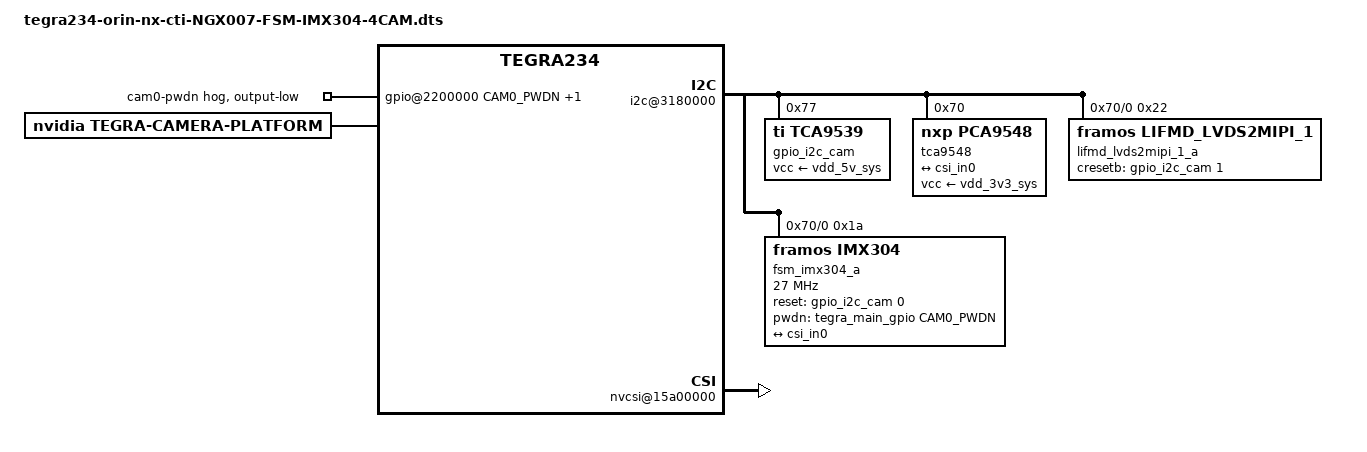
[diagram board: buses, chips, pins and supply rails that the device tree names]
/*
 * tegra234-p3737-camera-imx304-J5-4lane-overlay.dts - IMX304 sensor device tree
 *
 * Copyright (c) 2022. FRAMOS. All right reserved.
 *
 * This program is free software; you can redistribute it and/or modify
 * it under the terms of the GNU General Public License as published by
 * the Free Software Foundation; version 2 of the License.
 *
 * This program is distributed in the hope that it will be useful, but WITHOUT
 * ANY WARRANTY; without even the implied warranty of MERCHANTABILITY or
 * FITNESS FOR A PARTICULAR PURPOSE.  See the GNU General Public License for
 * more details.
 *
 */

#include "tegra234-orin-nx-cti-NGX007.dts"
//#include "tegra234-orin-nx-cti-rpi-imx219-modes-header.dtsi"

#include "dt-bindings/gpio/tegra234-gpio.h"
#include "dt-bindings/clock/tegra234-clock.h"

#define CAM0_PWDN	TEGRA234_MAIN_GPIO(H, 6)
#define CAM1_PWDN	TEGRA234_MAIN_GPIO(AC, 0)

/* PCA9539 Pxx bus-port define*/
#define CAM0_RST_0      0
#define CAM1_RST_0      2
#define CAM2_RST_0      4
#define CAM0_PWDN_1     1 //creset camA
#define CAM1_PWDN_1     3 //creset camB
#define CAM2_PWDN_0     5
#define CAM2_PWDN_1     6
#define CAM3_RST_0      7
#define CAM3_PWDN_0     8
#define CAM3_PWDN_1     9 //creset camC
#define MIPI_SW_SEL     10 // P12

#define CAMERA_I2C_MUX_BUS(x) (0x1E + x)

/ {
		nvidia,dtsfilename = "tegra234-orin-nx-cti-NGX007-FSM-IMX304-4CAM.dts";
		
		
		
		//GPIO controller nodes
		
		i2c@3180000{
			gpio_i2c_cam: gpio@77 {
				status = "okay";
				compatible = "ti,tca9539";
				reg = <0x77>;
				gpio-controller;
				#gpio-cells = <2>;
				#address-cells = <1>;
				#size-cells = <0>;
				vcc-supply = <&vdd_5v_sys>; //battery_reg
				camera-rst{
					gpio-hog;
					output-low;
					gpios = <0 0 2 0 4 0 7 0 10 0>;
					label = "cam0_rst", "cam1_rst", "cam2_rst", "cam3_rst", "mipi_sel";
				};
				camera-pwr{
					gpio-hog;
					output-high;
					gpios = <1 0 3 0 5 0 6 0 8 0 9 0>;
					label = "cam0_pw1", "cam1_pw1", "cam2_pw0", "cam2_pw1", "cam3_pw0", "cam3_pw1";
				};
			};
		};
	
		framos_platform_adapter {
			cam,use-cam-gpio = "true"; 
		};
		
		gpio@2200000 {
			status = "okay";
			camera-control-output-low {
				gpio-hog;
				output-low;
				gpios = <CAM0_PWDN 0 CAM1_PWDN 0>;
				label = "cam0-pwdn", "cam1-pwdn";
				status = "okay";
				};
		};
			
		tegra-capture-vi {
			num-channels = <1>;
			status = "okay";
			ports {
				#address-cells = <1>;
				#size-cells = <0>;
				port@0 {
					status = "okay";
					reg = <0>;
					vi_in0: endpoint {
						//vc-id=<0>
						status = "okay";
						port-index = <0>;
						bus-width = <4>;
						remote-endpoint = <&csi_out0>;
					};
				};

			};
		};

	host1x@13e00000 {
		nvcsi@15a00000 {
			num-channels = <1>;
			#address-cells = <1>;
			#size-cells = <0>;
			status = "okay";
			channel@0 {
				status = "okay";
				reg = <0>;
				ports {
					#address-cells = <1>;
					#size-cells = <0>;
					status = "okay";
					port@0 {
						status = "okay";
						reg = <0>;
						csi_in0: endpoint@0 {
							status = "okay";
							port-index = <0>;
							bus-width = <4>;
							remote-endpoint = <&vi_out0>;
						};
					};
					port@1 {
						status = "okay";
						reg = <1>;
						csi_out0: endpoint@1 {
							remote-endpoint = <&vi_in0>;
						};
					};
				};
			};

		};
	};
	i2c@3180000 {
		tca9548@70 {
			compatible = "nxp,pca9548";
			reg = <0x70>;
			#address-cells = <1>;
			#size-cells = <0>;
			skip_mux_detect;
			vcc-supply = <&vdd_3v3_sys>;
			force_bus_start = <CAMERA_I2C_MUX_BUS(0)>;
			status = "okay";	
			i2c@0 {
					reg = <0>;
					i2c-mux,deselect-on-exit;
					#address-cells = <1>;
					#size-cells = <0>;
					status = "okay";
					// lvds firmware 
					lifmd_lvds2mipi_1_a: lifmd_lvds2mipi_1_a@22 {
						compatible = "framos,lifmd_lvds2mipi_1";
						reg = <0x22>;
						device = "lifmd_lvds2mipi_1";
						cresetb = <&gpio_i2c_cam 1 GPIO_ACTIVE_HIGH>;
					};
					fsm_imx304_a@1a{
								status = "okay";
								reg = <0x1a>;
								compatible = "framos,imx304";
								
								/* Define any required hw resources needed by driver */
								/* ie. clocks, io pins, power sources */
								clocks = <&bpmp_clks TEGRA234_CLK_EXTPERIPH1>,
											<&bpmp_clks TEGRA234_CLK_EXTPERIPH1>;
								clock-names = "extperiph1", "pllp_grtba";
								mclk = "extperiph1";
								clock-frequency = <27000000>;
								lifmd_lvds2mipi_1-device = <&lifmd_lvds2mipi_1_a>;
								
								reset-gpios = <&gpio_i2c_cam 0 GPIO_ACTIVE_HIGH>;
								pwdn-gpios = <&tegra_main_gpio CAM0_PWDN GPIO_ACTIVE_HIGH>;
								
								//vana-supply = <&p3737_avdd_cam_2v8>;
								//vif-supply = <&vdd_1v8_sys>;

								devnode = "video0";

								physical_w = "15.00";
								physical_h = "12.50";

								sensor_model ="imx304";	

								//avdd-reg = "vana";
								//iovdd-reg = "vif"; 
								
								post_crop_frame_drop = "0";
								use_decibel_gain = "true";
								delayed_gain = "false";
								use_sensor_mode_id = "false";

								mode0 { //
									mclk_khz = "37125";
									num_lanes = "4";
									tegra_sinterface = "serial_a";
									phy_mode = "DPHY";
									discontinuous_clk = "no";
									dpcm_enable = "false";
									cil_settletime = "0";
									active_w = "4112";
									active_h = "3008";

									lane_polarity = "6";
//									mclk_multiplier = "13"; //12.8
									
									dynamic_pixel_bit_depth = "12";
									csi_pixel_bit_depth = "12";
									mode_type = "bayer";
									pixel_phase = "rggb";

									readout_orientation = "0";
									line_length = "4112";
									inherent_gain = "1";
									pix_clk_hz = "475200000";

									gain_factor = "10";
									min_gain_val = "0"; /* 0dB */
									max_gain_val = "480"; /* 48dB */
									step_gain_val = "1"; /* 0.1 */
									default_gain = "0";
									min_hdr_ratio = "1";
									max_hdr_ratio = "64";
									framerate_factor = "1000000";
									min_framerate = "1500000"; /* 1.5 */
									max_framerate = "24000000"; /* 24 */
									step_framerate = "1";
									default_framerate= "24000000";
									exposure_factor = "1000000";
									min_exp_time = "28"; /* us */
									max_exp_time = "660000"; /* us */
									step_exp_time = "1";
									default_exp_time = "27879";/* us */
									embedded_metadata_height = "0";
								};
								mode1 { //
									mclk_khz = "37125";
									num_lanes = "4";
									tegra_sinterface = "serial_a";
									phy_mode = "DPHY";
									discontinuous_clk = "no";
									dpcm_enable = "false";
									cil_settletime = "0";
									active_w = "4096";
									active_h = "2160";
									
									lane_polarity = "6";
//									mclk_multiplier = "13"; //12.8

									dynamic_pixel_bit_depth = "12";
									csi_pixel_bit_depth = "12";
									mode_type = "bayer";
									pixel_phase = "rggb";

									readout_orientation = "0";
									line_length = "4096";
									inherent_gain = "1";
									pix_clk_hz = "475200000";

									gain_factor = "10";
									min_gain_val = "0"; /* 0dB */
									max_gain_val = "480"; /* 48dB */
									step_gain_val = "1"; /* 0.1 */
									default_gain = "0";
									min_hdr_ratio = "1";
									max_hdr_ratio = "64";
									framerate_factor = "1000000";
									min_framerate = "1500000"; /* 1.5 */
									max_framerate = "31000000"; /* 31 */
									step_framerate = "1";
									default_framerate= "30000000";
									exposure_factor = "1000000";
									min_exp_time = "28"; /* us */
									max_exp_time = "660000"; /* us */
									step_exp_time = "1";
									default_exp_time = "20906";/* us */
									embedded_metadata_height = "0";
								};
								mode2 { //
									mclk_khz = "37125";
									num_lanes = "4";
									tegra_sinterface = "serial_a";
									phy_mode = "DPHY";
									discontinuous_clk = "no";
									dpcm_enable = "false";
									cil_settletime = "0";
									active_w = "3840";
									active_h = "2160";

									lane_polarity = "6";
//									mclk_multiplier = "13"; //12.8

									dynamic_pixel_bit_depth = "12";
									csi_pixel_bit_depth = "12";
									mode_type = "bayer";
									pixel_phase = "rggb";

									readout_orientation = "0";
									line_length = "3840";
									inherent_gain = "1";
									pix_clk_hz = "475200000";

									gain_factor = "10";
									min_gain_val = "0"; /* 0dB */
									max_gain_val = "480"; /* 48dB */
									step_gain_val = "1"; /* 0.1 */
									default_gain = "0";
									min_hdr_ratio = "1";
									max_hdr_ratio = "64";
									framerate_factor = "1000000";
									min_framerate = "1500000"; /* 1.5 */
									max_framerate = "31000000"; /* 31 */
									step_framerate = "1";
									default_framerate= "30000000";
									exposure_factor = "1000000";
									min_exp_time = "28"; /* us */
									max_exp_time = "660000"; /* us */
									step_exp_time = "1";
									default_exp_time = "10000";/* us */
									embedded_metadata_height = "0";
								};
								ports {
									#address-cells = <1>;
									#size-cells = <0>;

									port@0 {
										reg = <0>;
										vi_out0: endpoint {
											port-index = <0>;
											bus-width = <4>;
											remote-endpoint = <&csi_in0>;
										};
									};
								};
							};
						};
					};	
				};

	tegra-camera-platform {
		compatible = "nvidia, tegra-camera-platform";

		num_csi_lanes = <4>;
		max_lane_speed = <1500000>;
		min_bits_per_pixel = <10>;
		vi_peak_byte_per_pixel = <2>;
		vi_bw_margin_pct = <25>;
		max_pixel_rate = <240000>;
		isp_peak_byte_per_pixel = <5>;
		isp_bw_margin_pct = <25>;

		modules {
				module0 {
				badge = "imx304_front_fsm_imx304";
				position = "front";
				orientation = "1";
				status = "okay";
				drivernode0 {
					status = "okay";
					pcl_id = "v4l2_sensor";
					devname = "imx304 30-001a";
					proc-device-tree = "/proc/device-tree/i2c@3180000/tca9548@70/i2c@0/fsm_imx304_a@1a";
				};
			};
		};
	};
};
